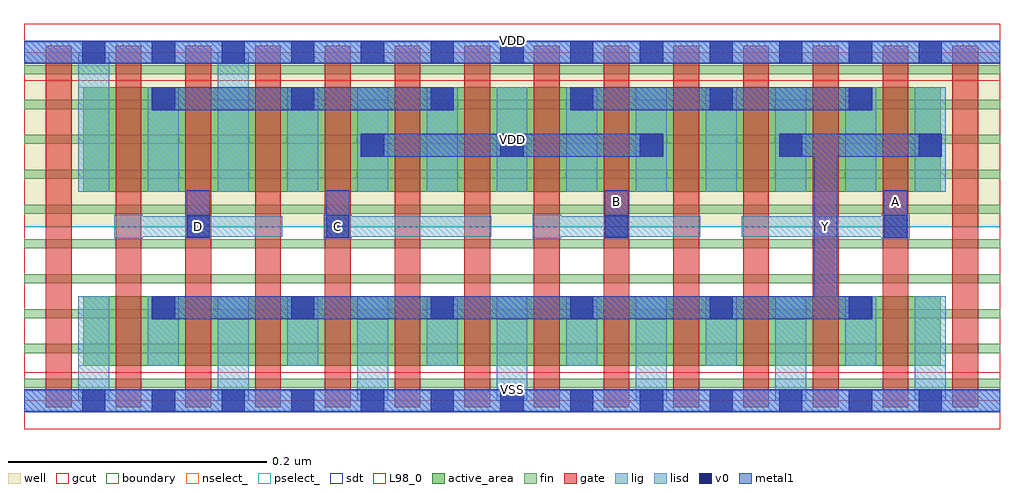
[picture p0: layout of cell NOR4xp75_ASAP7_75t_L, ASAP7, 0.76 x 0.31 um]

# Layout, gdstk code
import gdstk
lib = gdstk.Library(unit=1e-6, precision=2.5e-10)
def R(c, l, rs):  # rectangles x0, y0, x1, y1
    for r in rs: c.add(gdstk.rectangle(r[:2], r[2:], *l))
def A(c, l, x, y, w, h, nx, ny, dx, dy):  # array of equal rectangles
    R(c, l, [(x+i*dx, y+j*dy, x+i*dx+w, y+j*dy+h) for i in range(nx) for j in range(ny)])
def P(c, l, *ps):  # polygons
    for p in ps: c.add(gdstk.Polygon(p, *l))
well = (1, 0)
fin = (2, 0)
gate = (7, 0)
gcut = (10, 0)
active_area = (11, 0)
nselect_ = (12, 0)
pselect_ = (13, 0)
lig = (16, 0)
lisd = (17, 0)
v0 = (18, 0)
metal1 = (19, 0)
sdt = (88, 0)
L98_0 = (98, 0)
boundary = (100, 0)

nor4xp75_asap7_75t_l = lib.new_cell('NOR4xp75_ASAP7_75t_L')
R(nor4xp75_asap7_75t_l, well, [(0,0.135,0.756,0.27)])
A(nor4xp75_asap7_75t_l, fin, 0, 0.01, 0.756, 0.007, 1, 10, 0, 0.027)
A(nor4xp75_asap7_75t_l, gate, 0.017, -0.005, 0.02, 0.28, 14, 1, 0.054, 0)
R(nor4xp75_asap7_75t_l, gcut, [(0,-0.022,0.756,0.022), (0,0.248,0.756,0.292)])
R(nor4xp75_asap7_75t_l, active_area, [(0.046,0.027,0.71,0.081), (0.046,0.162,0.71,0.243)])
R(nor4xp75_asap7_75t_l, nselect_, [(0,0,0.756,0.135)])
R(nor4xp75_asap7_75t_l, pselect_, [(0,0.135,0.756,0.27)])
A(nor4xp75_asap7_75t_l, lig, 0.07, 0.126, 0.022, 0.018, 3, 1, 0.162, 0)
A(nor4xp75_asap7_75t_l, lig, 0.07, 0.127, 0.13, 0.016, 4, 1, 0.162, 0)
R(nor4xp75_asap7_75t_l, lig, [(0,-0.008,0.756,0.008), (0.664,0.126,0.686,0.144), (0,0.262,0.756,0.278)])
A(nor4xp75_asap7_75t_l, lisd, 0.096, 0.027, 0.024, 0.054, 6, 1, 0.108, 0)
A(nor4xp75_asap7_75t_l, lisd, 0.204, 0.162, 0.024, 0.081, 10, 1, 0.054, 0)
R(nor4xp75_asap7_75t_l, lisd, [(0.042,0,0.066,0.081), (0.042,0,0.066,0.081), (0.15,0,0.174,0.081), (0.15,0,0.174,0.081), (0.258,0,0.282,0.081), (0.258,0,0.282,0.081), (0.366,0,0.39,0.081), (0.366,0,0.39,0.081), (0.474,0,0.498,0.081), (0.474,0,0.498,0.081), (0.582,0,0.606,0.081), (0.582,0,0.606,0.081), (0.69,0,0.714,0.081), (0.69,0,0.714,0.081), (0.042,0.162,0.066,0.27), (0.042,0.162,0.066,0.27), (0.096,0.162,0.12,0.243), (0.15,0.162,0.174,0.27), (0.15,0.162,0.174,0.27)])
A(nor4xp75_asap7_75t_l, v0, 0.045, -0.009, 0.018, 0.018, 13, 2, 0.054, 0.27)
A(nor4xp75_asap7_75t_l, v0, 0.099, 0.063, 0.018, 0.018, 6, 2, 0.108, 0.162)
A(nor4xp75_asap7_75t_l, v0, 0.234, 0.126, 0.018, 0.018, 3, 1, 0.216, 0)
A(nor4xp75_asap7_75t_l, v0, 0.261, 0.189, 0.018, 0.018, 5, 1, 0.108, 0)
R(nor4xp75_asap7_75t_l, v0, [(0.126,0.126,0.144,0.144)])
A(nor4xp75_asap7_75t_l, metal1, 0.099, 0.063, 0.018, 0.018, 6, 2, 0.108, 0.162)
A(nor4xp75_asap7_75t_l, metal1, 0.234, 0.126, 0.018, 0.018, 3, 1, 0.216, 0)
A(nor4xp75_asap7_75t_l, metal1, 0.234, 0.126, 0.018, 0.037, 3, 1, 0.216, 0)
A(nor4xp75_asap7_75t_l, metal1, 0.261, 0.189, 0.018, 0.018, 5, 1, 0.108, 0)
R(nor4xp75_asap7_75t_l, metal1, [(0,-0.009,0.756,0.009), (0.126,0.126,0.144,0.144), (0.126,0.126,0.144,0.163), (0.261,0.189,0.495,0.207), (0.099,0.225,0.333,0.243), (0.423,0.225,0.657,0.243), (0,0.261,0.756,0.279)])
P(nor4xp75_asap7_75t_l, metal1, [(0.711,0.207),(0.585,0.207),(0.585,0.189),(0.612,0.189),(0.612,0.081),(0.099,0.081),(0.099,0.063),(0.657,0.063),(0.657,0.081),(0.63,0.081),(0.63,0.189),(0.711,0.189)])
A(nor4xp75_asap7_75t_l, sdt, 0.042, 0.027, 0.024, 0.054, 3, 1, 0.054, 0)
A(nor4xp75_asap7_75t_l, sdt, 0.15, 0.027, 0.024, 0.054, 3, 1, 0.054, 0)
A(nor4xp75_asap7_75t_l, sdt, 0.258, 0.027, 0.024, 0.054, 3, 1, 0.054, 0)
A(nor4xp75_asap7_75t_l, sdt, 0.366, 0.027, 0.024, 0.054, 3, 1, 0.054, 0)
A(nor4xp75_asap7_75t_l, sdt, 0.474, 0.027, 0.024, 0.054, 3, 1, 0.054, 0)
A(nor4xp75_asap7_75t_l, sdt, 0.582, 0.027, 0.024, 0.054, 3, 1, 0.054, 0)
A(nor4xp75_asap7_75t_l, sdt, 0.042, 0.162, 0.024, 0.081, 3, 1, 0.054, 0)
A(nor4xp75_asap7_75t_l, sdt, 0.15, 0.162, 0.024, 0.081, 11, 1, 0.054, 0)
R(nor4xp75_asap7_75t_l, sdt, [(0.042,0.027,0.066,0.081), (0.69,0.027,0.714,0.081), (0.042,0.162,0.066,0.243)])
R(nor4xp75_asap7_75t_l, L98_0, [(0,0,0.756,0.27)])
R(nor4xp75_asap7_75t_l, boundary, [(0,0,0.756,0.27)])
nor4xp75_asap7_75t_l.add(gdstk.Label('VDD', (0.378,0.2025), layer=1, texttype=251))
nor4xp75_asap7_75t_l.add(gdstk.Label('VSS', (0.378,-0.0675), layer=3, texttype=251))
nor4xp75_asap7_75t_l.add(gdstk.Label('VSS', (0.378,0.009), layer=19, texttype=251))
nor4xp75_asap7_75t_l.add(gdstk.Label('VDD', (0.378,0.279), layer=19, texttype=251))
nor4xp75_asap7_75t_l.add(gdstk.Label('D', (0.135,0.135), layer=19, texttype=251))
nor4xp75_asap7_75t_l.add(gdstk.Label('Y', (0.621,0.135), layer=19, texttype=251))
nor4xp75_asap7_75t_l.add(gdstk.Label('C', (0.243,0.135), layer=19, texttype=251))
nor4xp75_asap7_75t_l.add(gdstk.Label('B', (0.459,0.154), layer=19, texttype=251))
nor4xp75_asap7_75t_l.add(gdstk.Label('A', (0.675,0.154), layer=19, texttype=251))

lib.write_gds('NOR4xp75_ASAP7_75t_L.gds')
